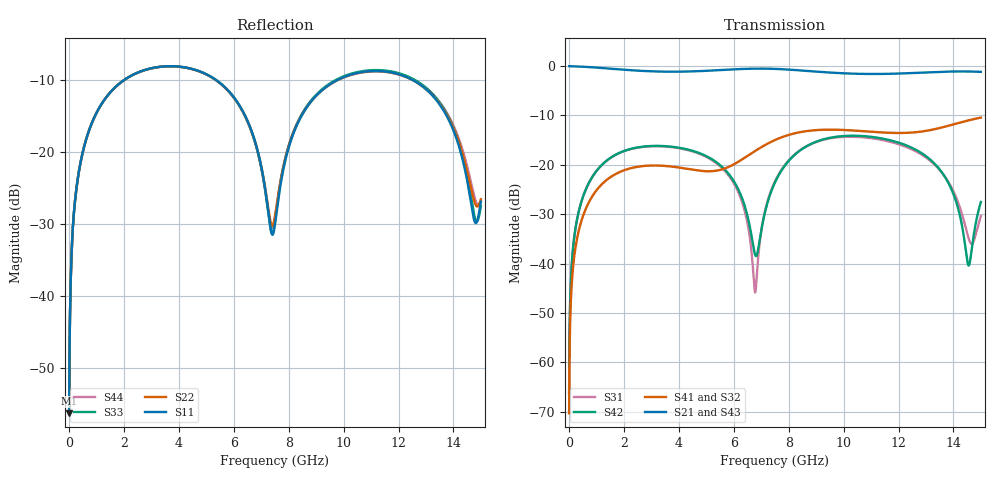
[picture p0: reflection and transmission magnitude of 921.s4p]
! Created with skrf 1.8.0 (http://scikit-rf.org).
# GHz S RI R 50.0
!freq ReS11 ImS11 ReS12 ImS12 ReS13 ImS13
! ReS14 ImS14
! ReS21 ImS21 ReS22 ImS22 ReS23 ImS23
! ReS24 ImS24
! ReS31 ImS31 ReS32 ImS32 ReS33 ImS33
! ReS34 ImS34
! ReS41 ImS41 ReS42 ImS42 ReS43 ImS43
! ReS44 ImS44
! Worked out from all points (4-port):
!   2499 points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, 5 MHz to 15 GHz, reference 50 ohm
!   strongest paths, dB at 5 MHz, 3.476 GHz, 7.19 GHz, 11.1 GHz, 15 GHz:
!     S21: 0.0, -1.1, -0.5, -1.6, -1.2
!     S43: 0.0, -1.1, -0.5, -1.6, -1.2
!     S41: -70.3, -20.2, -15.8, -13.3, -10.4
!     S32: -70.3, -20.2, -15.8, -13.4, -10.4
!     S42: -66.3, -16.2, -28.4, -14.4, -27.5
!     S31: -66.3, -16.3, -28.1, -14.7, -30.4
!   lowest |S11| = -56.3 dB at 5 MHz (marker M1), VSWR 1.00, Z = 50.1 + j0.0928 ohm
!   |S11| at or under -10 dB: start of sweep to 2.004 GHz; 5.363 GHz to 9.77 GHz (4.408 GHz wide, 58.3 % of centre); 12.52 GHz to end of sweep
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0.005  0.00122 0.000925  0.9988 -0.00237  5.98e-05 0.000478  -5.81e-05 -0.000299
       0.9988 -0.00237  0.00122 0.000925  -5.81e-05 -0.000299  5.98e-05 0.000478
       5.98e-05 0.000478  -5.81e-05 -0.000299  0.00122 0.000925  0.9988 -0.00237
       -5.81e-05 -0.000299  5.98e-05 0.000478  0.9988 -0.00237  0.00122 0.000925
0.4126719  0.0221 0.08  0.9695 -0.194  0.0102 0.0375  -0.00858 -0.0233
           0.9695 -0.194  0.0221 0.08  -0.00857 -0.0233  0.0104 0.0375
           0.0102 0.0375  -0.00857 -0.0233  0.0221 0.08  0.9695 -0.194
           -0.00858 -0.0233  0.0104 0.0375  0.9695 -0.194  0.0221 0.08
2.075865  0.2674 0.1812  0.5561 -0.7278  0.1248 0.0631  -0.0893 -0.00714
          0.5561 -0.7278  0.2666 0.1817  -0.0892 -0.00723  0.1269 0.0603
          0.1248 0.0631  -0.0892 -0.00723  0.2674 0.1811  0.5561 -0.7279
          -0.0893 -0.00714  0.1269 0.0603  0.5561 -0.7279  0.2665 0.1817
6.777824  0.0531 -0.1056  -0.8879 -0.3179  -0.00501 -0.000933  -0.0417 0.1317
          -0.8879 -0.3179  0.0568 -0.1031  -0.043 0.1313  -0.0115 -0.00429
          -0.00501 -0.000933  -0.043 0.1313  0.053 -0.1039  -0.8883 -0.3174
          -0.0417 0.1317  -0.0115 -0.00429  -0.8883 -0.3174  0.0557 -0.1017
7.534389  0.029 0.0192  -0.9367 0.00163  0.0143 0.0697  0.00777 0.1799
          -0.9367 0.00163  0.0333 0.0201  0.00622 0.1799  0.0107 0.0686
          0.0143 0.0697  0.00622 0.1799  0.03 0.0216  -0.9367 0.00249
          0.00777 0.1799  0.0107 0.0686  -0.9367 0.00249  0.0324 0.0223
11.11088  0.3656 0.000183  -0.1065 0.8257  0.174 -0.061  0.2093 -0.051
          -0.1065 0.8257  0.3637 0.00269  0.2085 -0.0475  0.1765 -0.0717
          0.174 -0.061  0.2085 -0.0475  0.3711 -0.00168  -0.1066 0.8238
          0.2093 -0.051  0.1765 -0.0717  -0.1066 0.8238  0.3672 0.00576
15  0.0342 0.0295  0.8729 0.0607  -0.00162 0.0302  0.00873 -0.301
    0.8729 0.0607  0.0431 0.0186  0.0154 -0.3007  0.0333 0.0257
    -0.00162 0.0302  0.0154 -0.3007  0.0346 0.0236  0.8727 0.064
    0.00873 -0.301  0.0333 0.0257  0.8727 0.064  0.0437 0.0128
